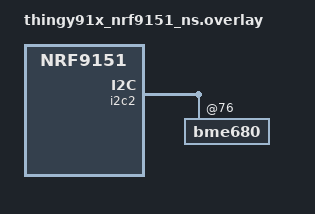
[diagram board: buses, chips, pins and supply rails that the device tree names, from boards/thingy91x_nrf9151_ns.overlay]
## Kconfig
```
#
# Copyright (c) 2022 Nordic Semiconductor ASA
#
# SPDX-License-Identifier: LicenseRef-Nordic-5-Clause
#

menu "Multi Service Sample Settings"

config APP_VERSION
	string "Multi Service Sample version"
	default "1.0.0"

config POWER_SAVING_MODE_ENABLE
	bool "Enable Power Saving Mode (PSM)"
	help
	  Enable to request Power Saving Mode from cellular network.

config CLOUD_CONNECTION_RETRY_TIMEOUT_SECONDS
	int "Cloud connection retry timeout (seconds)"
	default 30
	help
	  If connecting to nRF Cloud takes longer than this timeout, it will be
	  reattempted.

config CLOUD_READY_TIMEOUT_SECONDS
	int "Cloud readiness timeout (seconds)"
	default 600
	help
	  If the connection to nRF Cloud does not become ready within this
	  timeout, the sample will reset its connection and try again.

config DATE_TIME_ESTABLISHMENT_TIMEOUT_SECONDS
	int "Modem date and time establishment timeout (seconds)"
	default 300
	help
	  The sample will wait this many seconds for the modem to determine the
	  current date and time before giving up and moving on.

config APPLICATION_THREAD_STACK_SIZE
	int "Application Thread Stack Size (bytes)"
	default 2048
	help
	  Sets the stack size (in bytes) for the application thread of the
	  sample.

config CONNECTION_THREAD_STACK_SIZE
	int "Connection Thread Stack Size (bytes)"
	default 2048
	help
	  Sets the stack size (in bytes) for the connection thread of the
	  sample.

config MESSAGE_THREAD_STACK_SIZE
	int "Message Queue Thread Stack Size (bytes)"
	default 2048
	help
	  Sets the stack size (in bytes) for the message queue processing
	  thread of the sample.

config LED_THREAD_STACK_SIZE
	int "LED Thread Stack Size (bytes)"
	default 1024
	help
	  Sets the stack size (in bytes) for the LED thread.

config MAX_OUTGOING_MESSAGES
	int "Outgoing message maximum"
	default 64
	help
	  Sets the maximum number of device messages which may be enqueued
	  before further messages are dropped.

config MAX_CONSECUTIVE_SEND_FAILURES
	int "Max outgoing consecutive send failures"
	default 5
	help
	  Sets the maximum number of device messages which may fail to send
	  before a connection reset and cooldown is triggered.

config CONSECUTIVE_SEND_FAILURE_COOLDOWN_SECONDS
	int "Cooldown after max consecutive send failures exceeded"
	default 10
	help
	  If a connection reset is triggered by too many failed device
	  messages, the sample will wait this long (in seconds) before trying
	  again.

config SENSOR_SAMPLE_INTERVAL_SECONDS
	int "Sensor sampling interval (seconds)"
	default 60
	help
	  Sets the time to wait between each sensor sample.

config LOCATION_TRACKING_SAMPLE_INTERVAL_SECONDS
	int "Location sampling interval (seconds)"
	default 60
	help
	  Sets the location sampling interval in seconds.

config LOCATION_TRACKING_GNSS
	bool "Use GNSS method for location tracking"
	default y
	depends on LOCATION_METHOD_GNSS
	help
	  Disable all location tracking methods to completely disable location tracking.

config LOCATION_TRACKING_CELLULAR
	bool "Use cellular method for location tracking"
	default y
	depends on LOCATION_METHOD_CELLULAR
	help
	  Disable all location tracking methods to completely disable location tracking.

config LOCATION_TRACKING_WIFI
	bool "Use Wi-Fi method for location tracking"
	default n
	depends on LOCATION_METHOD_WIFI
	help
	  Requires the use of an nRF7002 companion chip.
	  Disable all location tracking methods to completely disable location tracking.

config TEMP_DATA_USE_SENSOR
	bool "Use genuine temperature data"
	depends on BOARD_THINGY91_NRF9160_NS || BOARD_THINGY91X_NRF9161_NS
	default y
	select SENSOR
	select BME680
	help
	  Sets whether to take genuine temperature measurements from a
	  connected BME680 sensor, or just simulate sensor data.

config TEMP_TRACKING
	bool "Track temperature"
	default y
	help
	  Sets whether to take temperature measurements.

config TEMP_ALERT_LIMIT
	int "Temperature limit to send alert"
	default 30
	help
	  Sets the temperature in degrees C over which a temperature alert will
	  be sent to the cloud.

choice
	prompt "LED indication"
	default LED_INDICATION_PWM if BOARD_THINGY91_NRF9160_NS || BOARD_THINGY91X_NRF9161_NS
	default LED_INDICATION_GPIO if BOARD_NRF9160DK_NRF9160_NS || BOARD_NRF9161DK_NRF9161_NS || $(dt_compat_enabled,gpio-leds)
	default LED_INDICATION_DISABLED

	config LED_INDICATION_PWM
		select LED
		select LED_PWM
		select PWM
		bool "Enable LED indication using the pwm-leds driver"

	config LED_INDICATION_GPIO
		select LED
		select LED_GPIO
		bool "Enable LED indication using the gpio-leds driver"

	config LED_INDICATION_DISABLED
		bool "Disable LED indication"
endchoice

choice
	prompt "LED indication LED type"
	depends on !LED_INDICATION_DISABLED
	default LED_INDICATOR_RGB if (BOARD_THINGY91_NRF9160_NS || BOARD_THINGY91X_NRF9161_NS) && LED_INDICATION_PWM
	default LED_INDICATOR_4LED if !LED_INDICATION_DISABLED
	default LED_INDICATOR_NONE

	config LED_INDICATOR_RGB
		depends on LED_INDICATION_PWM
		bool "A single RGB LED"

	config LED_INDICATOR_4LED
		depends on !LED_INDICATION_DISABLED
		bool "Four binary LEDs"

	config LED_INDICATOR_NONE
		depends on LED_INDICATION_DISABLED
		bool "No indicator LEDs"

endchoice

config LED_VERBOSE_INDICATION
	depends on !LED_INDICATION_DISABLED
	bool "Enables extra LED status indications"
	default y

config LED_CONTINUOUS_INDICATION
	depends on !LED_INDICATION_DISABLED
	bool "Show an idle pattern instead of turning LEDs off"
	default y

config GNSS_FIX_TIMEOUT_SECONDS
	int "GNSS Fix timeout"
	default 40
	help
	  On each location sample, try for this long to achieve a GNSS fix
	  before falling back to cellular positioning.
	  Set this to 20 or so seconds below the sensor sample interval so
	  that there is time left over to perform cellular positioning.
	  Otherwise, location samples may occur at a longer interval than
	  requested.

config TEST_COUNTER
	bool "Sets whether the test counter is enabled"

config AT_CMD_REQUESTS
	depends on !NRF_CLOUD_COAP
	bool "Enables remote execution of AT commands using device messages"
	default y

config AT_CMD_REQUEST_RESPONSE_BUFFER_LENGTH
	int "Max length (in bytes) for Modem responses during AT command requests"
	help
	  Responses to modem AT commands are stored in a buffer of this length before being sent to
	  nRF Cloud. If a response from the modem exceeds this length, it will be dropped, and an
	  error code sent in its place (-NRF_E2BIG). Cannot be less than 40 bytes.
	default 200

if NRF_CLOUD_COAP

menuconfig NRF_CLOUD_COAP_FOTA
	bool "Enable FOTA service when using CoAP to connect to nRF Cloud"
	select FOTA_DOWNLOAD
	select FOTA_DOWNLOAD_PROGRESS_EVT
	select IMG_ERASE_PROGRESSIVELY
	select DFU_TARGET
	select DOWNLOAD_CLIENT
	select REBOOT
	select CJSON_LIB
	select SETTINGS
	default y

if NRF_CLOUD_COAP_FOTA

config COAP_FOTA_DL_TIMEOUT_MIN
	int "The time (minutes) allotted for a FOTA download to complete"
	default 15
	help
	  If the FOTA download does not complete in the allotted time,
	  the download will be cancelled and the job status will be
	  set as failed.

config COAP_FOTA_USE_NRF_CLOUD_SETTINGS_AREA
	bool "Use the same settings area as the nRF Cloud FOTA library"
	default y
	help
	  Using the same settings area as the nRF Cloud FOTA library will
	  allow this sample to perform application-FOTA updates to applications
	  built with CONFIG_NRF_CLOUD_FOTA enabled.

config COAP_FOTA_SETTINGS_NAME
	depends on !COAP_FOTA_USE_NRF_CLOUD_SETTINGS_AREA
	string "Settings identifier for the COAP FOTA sample"
	default "coap_fota_sample"
	help
	  The root settings identifier for this application.
	  For application-FOTA, this value should also be found in your target application
	  so that the FOTA status can be properly reported to nRF Cloud.

config COAP_FOTA_SETTINGS_KEY_PENDING_JOB
	depends on !COAP_FOTA_USE_NRF_CLOUD_SETTINGS_AREA
	string "Settings item key for pending FOTA job info"
	default "pending_job"
	help
	  The settings item key where pending FOTA job info will be stored.
	  For application-FOTA, this value should also be found in your target application
	  so that the FOTA status can be properly reported to nRF Cloud.

config COAP_FOTA_JOB_CHECK_RATE_MINUTES
	int "FOTA job check interval (minutes)"
	default 60
	help
	  Sets the time to wait between each request to get any pending FOTA job.

config COAP_FOTA_THREAD_STACK_SIZE
	int "CoAP FOTA Thread Stack Size (bytes)"
	default 2048
	help
	  Sets the stack size (in bytes) for the CoAP FOTA thread of the
	  sample.

endif

config COAP_SHADOW_CHECK_RATE_SECONDS
	int "Shadow job check interval (seconds)"
	default 300
	help
	  Sets the time to wait between each request to get any change to the
	  device shadow.

config COAP_SHADOW_THREAD_STACK_SIZE
	int "CoAP Shadow Thread Stack Size (bytes)"
	default 2048
	help
	  Sets the stack size (in bytes) for the CoAP shadow thread of the
	  sample.

endif

endmenu

if NRF_CLOUD_MQTT
module-str = MQTT Multi Service
endif
if NRF_CLOUD_COAP
module-str = CoAP Multi Service
endif
module = MULTI_SERVICE
source "${ZEPHYR_BASE}/subsys/logging/Kconfig.template.log_config"

menu "Zephyr Kernel"
source "Kconfig.zephyr"
endmenu
```

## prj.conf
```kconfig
#
# Copyright (c) 2022 Nordic Semiconductor ASA
#
# SPDX-License-Identifier: LicenseRef-Nordic-5-Clause
#

# Log level
# For more verbose and detailed log output, set the log level to
# CONFIG_MULTI_SERVICE_LOG_LEVEL_DBG=y instead.
CONFIG_MULTI_SERVICE_LOG_LEVEL_INF=y

# General config
CONFIG_EVENTS=y
CONFIG_PICOLIBC_IO_FLOAT=y
CONFIG_RESET_ON_FATAL_ERROR=y
CONFIG_NCS_SAMPLES_DEFAULTS=y

# LED indication
# Uncomment these to minimize LED state indication when power savings are necessary
# CONFIG_LED_VERBOSE_INDICATION=n
# CONFIG_LED_CONTINUOUS_INDICATION=n

# Or, uncomment this to completely disable LED state indication
# CONFIG_LED_INDICATION_DISABLED=y

# Improved Logging
# CONFIG_LOG_MODE_DEFERRED allows logging from multiple threads simultaneously without creating
# splintered log entries, at the cost of needing a buffer for storing logs.
CONFIG_LOG_MODE_DEFERRED=y

# CONFIG_LOG_BUFFER_SIZE is the aforementioned buffer. A size of 4096 bytes is useful for debugging
# and prototyping, but is probably more than necessary for production-ready firmware.
CONFIG_LOG_BUFFER_SIZE=4096

# Heap and stacks
# Extended AT host/monitor stack/heap sizes since some nrf_cloud credentials are longer than 1024 bytes.
CONFIG_AT_MONITOR_HEAP_SIZE=2048
CONFIG_AT_HOST_STACK_SIZE=2048
# Extended memory heap size needed both for PGPS and for encoding JSON-based nRF Cloud Device Messages.
CONFIG_HEAP_MEM_POOL_SIZE=24576
CONFIG_SYSTEM_WORKQUEUE_STACK_SIZE=4096

# Enable Networking and Connection Manager.
CONFIG_NETWORKING=y
CONFIG_NET_SOCKETS=y
CONFIG_NET_SOCKETS_OFFLOAD=y
CONFIG_NET_MGMT_EVENT_STACK_SIZE=2048
CONFIG_NET_CONNECTION_MANAGER_MONITOR_STACK_SIZE=1024
CONFIG_MAIN_STACK_SIZE=2048

# Enable LTE Connectivity using Connection Manager
CONFIG_NET_IPV4=y
CONFIG_NET_IPV6=y
CONFIG_NET_IPV6_NBR_CACHE=n
CONFIG_NET_IPV6_MLD=n
CONFIG_NET_CONNECTION_MANAGER=y
CONFIG_NRF_MODEM_LIB_ON_FAULT_APPLICATION_SPECIFIC=y
CONFIG_NRF_MODEM_LIB_NET_IF=y
CONFIG_NRF_MODEM_LIB_NET_IF_AUTO_DOWN=y
CONFIG_NRF_MODEM_LIB_NET_IF_DOWN_DEFAULT_LTE_DISCONNECT=y

# Enable power savings mode
CONFIG_LTE_PSM_REQ=y
# Set the PSM Requested Active Time to 20 seconds
CONFIG_LTE_PSM_REQ_RAT="00001010"

# Modem library
CONFIG_NRF_MODEM_LIB=y

# AT commands interface
CONFIG_UART_INTERRUPT_DRIVEN=y
CONFIG_AT_HOST_LIBRARY=y

# nRF Cloud
CONFIG_NRF_CLOUD_MQTT=y # This also enables FOTA by implicitly setting CONFIG_NRF_CLOUD_FOTA=y

# MQTT
CONFIG_MQTT_KEEPALIVE=120

# MCUBOOT - Needed by FOTA
CONFIG_BOOTLOADER_MCUBOOT=y
CONFIG_IMG_MANAGER=y
CONFIG_MCUBOOT_IMG_MANAGER=y
CONFIG_STREAM_FLASH_ERASE=y

# Location Services configuration
CONFIG_LOCATION=y
CONFIG_LOCATION_METHOD_GNSS=y
CONFIG_LOCATION_METHOD_CELLULAR=y
CONFIG_NRF_CLOUD_AGNSS=y
CONFIG_NRF_CLOUD_LOCATION=y
CONFIG_MODEM_INFO=y
CONFIG_MODEM_INFO_ADD_NETWORK=y
CONFIG_NRF_CLOUD_PGPS=y
CONFIG_NRF_CLOUD_PGPS_REPLACEMENT_THRESHOLD=4
CONFIG_NRF_CLOUD_PGPS_REQUEST_UPON_INIT=y

# Date Time lib - Used by PGPS and main application
CONFIG_DATE_TIME=y

# LTE link control - used by PGPS and main application
CONFIG_LTE_LINK_CONTROL=y

# Settings - used by nRF Cloud library and PGPS
CONFIG_SETTINGS=y
CONFIG_SETTINGS_FCB=y
CONFIG_FCB=y

# Download Client - used by FOTA and PGPS
CONFIG_DOWNLOAD_CLIENT=y
CONFIG_DOWNLOAD_CLIENT_HTTP_FRAG_SIZE_1024=y
CONFIG_DOWNLOAD_CLIENT_STACK_SIZE=4096
CONFIG_DOWNLOAD_CLIENT_BUF_SIZE=2300
CONFIG_DOWNLOAD_CLIENT_MAX_HOSTNAME_SIZE=128

# Flash - Used by FOTA and PGPS
CONFIG_FLASH=y
CONFIG_FLASH_PAGE_LAYOUT=y
CONFIG_FLASH_MAP=y
CONFIG_STREAM_FLASH=y
CONFIG_MPU_ALLOW_FLASH_WRITE=y
CONFIG_PM_EXTERNAL_FLASH_MCUBOOT_SECONDARY=n
CONFIG_NRF_CLOUD_ALERT=y
CONFIG_NRF_CLOUD_LOG_DIRECT=y
CONFIG_NRF_CLOUD_LOG_OUTPUT_LEVEL=3

# On initial connection to the cloud, add info sections to the shadow
CONFIG_NRF_CLOUD_SEND_DEVICE_STATUS=y
CONFIG_NRF_CLOUD_SEND_DEVICE_STATUS_NETWORK=y
CONFIG_NRF_CLOUD_SEND_DEVICE_STATUS_SIM=y
CONFIG_NRF_CLOUD_SEND_SERVICE_INFO_FOTA=y
CONFIG_NRF_CLOUD_SEND_SERVICE_INFO_UI=y

CONFIG_NRF_CLOUD_CLIENT_ID_SRC_COMPILE_TIME=y
CONFIG_NRF_CLOUD_CLIENT_ID="50363953-3234-4bde-80d5-18182e36f012"
CONFIG_NRF_CLOUD_SEC_TAG=3696

CONFIG_MULTI_SERVICE_LOG_LEVEL_DBG=y
```

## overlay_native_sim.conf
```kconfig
## Disable Modem/LTE/nrf91-specific features
CONFIG_NRF_MODEM_LIB=n
CONFIG_MODEM_INFO=n
CONFIG_MODEM_INFO_ADD_NETWORK=n
CONFIG_AT_HOST_LIBRARY=n
CONFIG_LTE_LINK_CONTROL=n
CONFIG_LTE_PSM_REQ=n

# Networking
CONFIG_NET_SOCKETS_OFFLOAD=n

## Disable cloud features reliant on or specific to nrf91 modem features
CONFIG_NRF_CLOUD_AGNSS=n
CONFIG_NRF_CLOUD_PGPS=n
CONFIG_NRF_CLOUD_PGPS_REQUEST_UPON_INIT=n
CONFIG_LOCATION_METHOD_GNSS=n
CONFIG_LOCATION_METHOD_CELLULAR=n

## Disable FOTA to conserve memory
CONFIG_NRF_CLOUD_FOTA=n
CONFIG_COAP_FOTA=n
CONFIG_BOOTLOADER_MCUBOOT=n
CONFIG_IMG_MANAGER=n
CONFIG_MCUBOOT_IMG_MANAGER=n

CONFIG_TLS_CREDENTIALS=y
CONFIG_TLS_CREDENTIALS_SHELL=y
CONFIG_TLS_CREDENTIALS_SHELL_CRED_BUF_SIZE=3072
CONFIG_TLS_CREDENTIALS_BACKEND_VOLATILE=y
CONFIG_BASE64=y

CONFIG_DATE_TIME_AUTO_UPDATE=y
CONFIG_DATE_TIME_MODEM=n
CONFIG_DATE_TIME_NTP=y
CONFIG_DATE_TIME_LOG_LEVEL_DBG=y
CONFIG_DATE_TIME_RETRY_COUNT=5
CONFIG_DATE_TIME_RETRY_INTERVAL_SECONDS=20

## Disable LED patterns since the WiFi shield is not compatible
CONFIG_LED_INDICATION_DISABLED=y

## Disable LTE conn_mgr bindings
CONFIG_NRF_MODEM_LIB_NET_IF=n

## This had to be disabled for LTE with conn_mgr, but there is no reason to disable for Wi-Fi
CONFIG_DNS_RESOLVER=y
CONFIG_NET_SOCKETS_DNS_TIMEOUT=30000

CONFIG_LOCATION_TRACKING=n
CONFIG_LOCATION=n
CONFIG_DK_LIBRARY=n

# Native network stack
CONFIG_MBEDTLS=y
CONFIG_MBEDTLS_INIT=y
CONFIG_MBEDTLS_BUILTIN=y
CONFIG_MBEDTLS_ENABLE_HEAP=y
CONFIG_MBEDTLS_HEAP_SIZE=120000
CONFIG_MBEDTLS_SSL_MAX_CONTENT_LEN=16384
CONFIG_MBEDTLS_PEM_CERTIFICATE_FORMAT=y
CONFIG_MBEDTLS_KEY_EXCHANGE_RSA_PSK_ENABLED=y
CONFIG_MBEDTLS_KEY_EXCHANGE_ECDHE_PSK_ENABLED=y
CONFIG_MBEDTLS_KEY_EXCHANGE_RSA_ENABLED=y
CONFIG_MBEDTLS_KEY_EXCHANGE_ECDHE_RSA_ENABLED=y
CONFIG_MBEDTLS_KEY_EXCHANGE_ECDHE_ECDSA_ENABLED=y

# NET Sockets
CONFIG_NET_SOCKETS_SOCKOPT_TLS=y

CONFIG_MBEDTLS_ECDH_C=y
CONFIG_MBEDTLS_ECP_C=y
CONFIG_MBEDTLS_ECDSA_C=y
CONFIG_MBEDTLS_ECP_DP_SECP256R1_ENABLED=y

CONFIG_MBEDTLS_X509_CRT_PARSE_C=y
CONFIG_MBEDTLS_SERVER_NAME_INDICATION=y
CONFIG_MBEDTLS_TLS_SESSION_TICKETS=y
CONFIG_MBEDTLS_KEY_EXCHANGE_ECDHE_PSK_ENABLED=y
CONFIG_MBEDTLS_KEY_EXCHANGE_ECDHE_RSA_ENABLED=y
CONFIG_MBEDTLS_KEY_EXCHANGE_ECDHE_ECDSA_ENABLED=y
CONFIG_MBEDTLS_CIPHER_GCM_ENABLED=y
CONFIG_MBEDTLS_ECP_DP_SECP384R1_ENABLED=y
CONFIG_MBEDTLS_ECP_DP_SECP521R1_ENABLED=y
CONFIG_MBEDTLS_ECP_DP_BP256R1_ENABLED=y
CONFIG_MBEDTLS_ECP_DP_BP384R1_ENABLED=y
CONFIG_MBEDTLS_ECP_DP_BP512R1_ENABLED=y
CONFIG_MBEDTLS_ECP_DP_CURVE25519_ENABLED=y

CONFIG_MBEDTLS_SHA1=y
CONFIG_MBEDTLS_SHA256=y
CONFIG_MBEDTLS_SHA384=y
CONFIG_MBEDTLS_SHA512=y

CONFIG_MBEDTLS=y
CONFIG_MBEDTLS_PSA_CRYPTO_C=y
CONFIG_MBEDTLS_PSA_CRYPTO_EXTERNAL_RNG=y
CONFIG_PSA_CRYPTO_ENABLE_ALL=y
CONFIG_BASE64=y

CONFIG_NRF_CLOUD_PROVISION_CERTIFICATES=y
CONFIG_NRF_CLOUD_CLIENT_ID="d1834fe7-5dd2-4db6-b055-9b281304966c"
```

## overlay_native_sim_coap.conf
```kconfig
# Additional options for CoAP on native_sim
CONFIG_MBEDTLS_DTLS=y
CONFIG_MBEDTLS_SSL_DTLS_CONNECTION_ID=y
CONFIG_NET_SOCKETS_ENABLE_DTLS=y
CONFIG_NET_SOCKETS_TLS_SET_MAX_FRAGMENT_LENGTH=y
CONFIG_NET_SOCKETS_OFFLOAD_PRIORITY=40

CONFIG_NRF_CLOUD_MQTT=n
CONFIG_NRF_CLOUD_COAP=y
CONFIG_NRF_CLOUD_ALERT=y
CONFIG_NRF_CLOUD_LOCATION=n
CONFIG_NRF_CLOUD_JWT_SOURCE_CUSTOM=y

CONFIG_COAP_CLIENT_BLOCK_SIZE=1024
CONFIG_COAP_CLIENT_STACK_SIZE=6144
CONFIG_COAP_CLIENT_THREAD_PRIORITY=0
CONFIG_COAP_EXTENDED_OPTIONS_LEN_VALUE=40
```

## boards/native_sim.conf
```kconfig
#
# Copyright (c) 2025 Nordic Semiconductor ASA
#
# SPDX-License-Identifier: LicenseRef-Nordic-5-Clause
#

CONFIG_DNS_RESOLVER=y
CONFIG_DNS_SERVER_IP_ADDRESSES=y
CONFIG_DNS_SERVER1="8.8.8.8"

CONFIG_NETWORKING=y
CONFIG_NET_UDP=y
CONFIG_NET_TCP=y
CONFIG_NET_IPV6=y
CONFIG_NET_IPV4=y

CONFIG_ENTROPY_GENERATOR=y
CONFIG_TEST_RANDOM_GENERATOR=y
CONFIG_INIT_STACKS=y

CONFIG_NET_LOG=y
CONFIG_LOG=y

CONFIG_NET_STATISTICS=y

CONFIG_NET_PKT_RX_COUNT=32
CONFIG_NET_PKT_TX_COUNT=32
CONFIG_NET_BUF_RX_COUNT=32
CONFIG_NET_BUF_TX_COUNT=32

CONFIG_NET_IF_UNICAST_IPV6_ADDR_COUNT=3
CONFIG_NET_IF_MCAST_IPV6_ADDR_COUNT=4
CONFIG_NET_MAX_CONTEXTS=10

CONFIG_NET_SHELL=y

CONFIG_NET_CONFIG_SETTINGS=y
CONFIG_NET_CONFIG_NEED_IPV6=y
CONFIG_NET_CONFIG_NEED_IPV4=y
CONFIG_NET_CONFIG_MY_IPV6_ADDR="2001:db8::1"
CONFIG_NET_CONFIG_PEER_IPV6_ADDR="2001:db8::2"
CONFIG_NET_CONFIG_MY_IPV4_ADDR="192.0.2.1"
CONFIG_NET_CONFIG_PEER_IPV4_ADDR="192.0.2.2"
CONFIG_NET_CONFIG_MY_IPV4_GW="192.0.2.2"

CONFIG_NET_L2_ETHERNET=y

CONFIG_ETH_NATIVE_POSIX=y
CONFIG_ETH_NATIVE_POSIX_RANDOM_MAC=y
CONFIG_ETH_NATIVE_POSIX_MAC_ADDR="00:00:5e:00:53:2a"
```

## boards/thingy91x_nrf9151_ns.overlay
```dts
/* Copyright (c) 2023 Nordic Semiconductor ASA
 *
 * SPDX-License-Identifier: LicenseRef-Nordic-5-Clause
 */

/ {
	aliases {
		temp-sensor = &bme680;
	};
};

&bme680 {
	status = "okay";
};

&i2c2 {
	bme680: bme680@76 {};
};
```

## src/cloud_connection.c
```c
/* Copyright (c) 2023 Nordic Semiconductor ASA
 *
 * SPDX-License-Identifier: LicenseRef-Nordic-5-Clause
 */

#include <zephyr/kernel.h>
#include <zephyr/net/socket.h>
#include <zephyr/net/conn_mgr_connectivity.h>
#include <zephyr/net/conn_mgr_monitor.h>
#include <zephyr/logging/log.h>
#include <stdio.h>
#include <date_time.h>
#include <net/nrf_cloud.h>
#include <net/nrf_cloud_codec.h>
#include <net/nrf_cloud_log.h>
#if defined(CONFIG_NRF_CLOUD_COAP)
#include <net/nrf_cloud_coap.h>
#include "fota_support_coap.h"
#endif
#include <net/nrf_provisioning.h>

#include "cloud_connection.h"
#include "provisioning_support.h"
#include "fota_support.h"
#include "location_tracking.h"
#include "led_control.h"
#include "shadow_config.h"

LOG_MODULE_REGISTER(cloud_connection, CONFIG_MULTI_SERVICE_LOG_LEVEL);

/* Internal state */

/* Pendable events that threads can wait for. */
#define NETWORK_READY			BIT(0)
#define CLOUD_CONNECTED			BIT(1)
#define CLOUD_READY			BIT(2)
#define CLOUD_DISCONNECTED		BIT(3)
#define DATE_TIME_KNOWN			BIT(4)
static K_EVENT_DEFINE(cloud_events);

/* Atomic status flag tracking whether an initial association is in progress. */
static atomic_t initial_association;
static bool device_deleted;
static int reconnect_seconds = CONFIG_CLOUD_CONNECTION_RETRY_TIMEOUT_SECONDS;

/* Helper functions for pending on pendable events. */
bool await_network_ready(k_timeout_t timeout)
{
	return k_event_wait(&cloud_events, NETWORK_READY, false, timeout) != 0;
}

bool await_cloud_ready(k_timeout_t timeout)
{
	return k_event_wait(&cloud_events, CLOUD_READY, false, timeout) != 0;
}

bool await_cloud_disconnected(k_timeout_t timeout)
{
	return k_event_wait(&cloud_events, CLOUD_DISCONNECTED, false, timeout) != 0;
}

bool await_date_time_known(k_timeout_t timeout)
{
	return k_event_wait(&cloud_events, DATE_TIME_KNOWN, false, timeout) != 0;
}

bool is_device_deleted(void)
{
	return device_deleted;
}

/* Wait for a connection result, and return true if connection was successful within the timeout,
 * otherwise return false.
 */
static bool await_connection_result(k_timeout_t timeout)
{
	/* After a connection attempt, either CLOUD_CONNECTED or CLOUD_DISCONNECTED will be
	 * raised, depending on whether the connection succeeded.
	 */
	uint32_t events = CLOUD_CONNECTED | CLOUD_DISCONNECTED;

	return (k_event_wait(&cloud_events, events, false, timeout) & CLOUD_CONNECTED) != 0;
}

/* Delayable work item for handling cloud readiness timeout.
 * The work item is scheduled at a delay any time connection starts and is cancelled when the
 * connection to nRF Cloud becomes ready to use (signalled by NRF_CLOUD_EVT_READY).
 *
 * If the work item executes, that means the nRF Cloud connection did not become ready for use
 * within the delay, and thus the connection should be reset (and then try again later).
 */
static void ready_timeout_work_fn(struct k_work *work)
{
	ARG_UNUSED(work);
	LOG_INF("nRF Cloud connection did not become ready in time, disconnecting and retrying...");
	disconnect_cloud();
}

static K_WORK_DELAYABLE_DEFINE(ready_timeout_work, ready_timeout_work_fn);

/* Start the readiness timeout if readiness is not already achieved. */
static void start_readiness_timeout(void)
{
	/* It doesn't make sense to start the readiness timeout if we're already ready. */
	if (k_event_test(&cloud_events, CLOUD_READY)) {
		LOG_DBG("Already ready.");
		return;
	}

	LOG_DBG("Starting cloud connection readiness timeout for %d seconds",
		CONFIG_CLOUD_READY_TIMEOUT_SECONDS);

	k_work_reschedule(&ready_timeout_work, K_SECONDS(CONFIG_CLOUD_READY_TIMEOUT_SECONDS));
}

static void clear_readiness_timeout(void)
{
	LOG_DBG("Stopping cloud connection readiness timeout");
	k_work_cancel_delayable(&ready_timeout_work);
}

/**
 * @brief Update internal state in response to achieving connection.
 */
static void cloud_connected(void)
{
	LOG_INF("Connected to nRF Cloud");

	shadow_config_cloud_connected();

	/* Notify that the nRF Cloud connection is established. */
	k_event_post(&cloud_events, CLOUD_CONNECTED);
}

/**
 * @brief Update internal state in response to achieving readiness.
 */
static void cloud_ready(void)
{
	/* Clear the readiness timeout, since we have become ready. */
	clear_readiness_timeout();

	reconnect_seconds = CONFIG_CLOUD_CONNECTION_RETRY_TIMEOUT_SECONDS;

	/* Notify that the nRF Cloud connection is ready for use. */
	k_event_post(&cloud_events, CLOUD_READY);
	LOG_DBG("Setting CLOUD_READY");

	if (IS_ENABLED(CONFIG_NRF_PROVISIONING)) {
		LOG_INF("Reducing provisioning check interval to %d minutes",
			CONFIG_POST_PROVISIONING_INTERVAL_M);
		nrf_provisioning_set_interval(CONFIG_POST_PROVISIONING_INTERVAL_M * SEC_PER_MIN);
	}
}

/* A callback that the application may register in order to handle custom device messages.
 * This is really a convenience callback to help keep this sample clean and modular. You could
 * implement device message handling directly in the cloud_event_handler if desired.
 */
static dev_msg_handler_cb_t general_dev_msg_handler;
void register_general_dev_msg_handler(dev_msg_handler_cb_t handler_cb)
{
	general_dev_msg_handler = handler_cb;
}

/* This function causes the cloud to disconnect, and updates internal state accordingly.
 *
 * It is also triggerd by cloud disconnection, to update internal state.
 *
 * In this latter case, an unnecessary "Disconnecting from nRF Cloud" and
 * "Already disconnected from nRF Cloud" will be printed.
 *
 * This is done to keep the sample simple, though the log messages may be a bit confusing.
 */
void disconnect_cloud(void)
{
	/* Clear the readiness timeout in case it was running. */
	clear_readiness_timeout();

	/* Clear the Ready and Connected events, no longer accurate. */
	k_event_clear(&cloud_events, CLOUD_READY | CLOUD_CONNECTED);
	LOG_DBG("Cleared CLOUD_READY and CLOUD_CONNECTED");

	/* Clear the initial association flag, no longer accurate. */
	atomic_set(&initial_association, false);

	/* Disconnect from nRF Cloud -- Blocking call
	 * Will no-op and return -EACCES if already disconnected.
	 */
	LOG_INF("Disconnecting from nRF Cloud");
	int err;

#if defined(CONFIG_NRF_CLOUD_MQTT)
	err = nrf_cloud_disconnect();
#elif defined(CONFIG_NRF_CLOUD_COAP)
	err = nrf_cloud_coap_disconnect();
#endif
	/* nrf_cloud_disconnect returns -EACCES if we are not currently in a connected state.
	 * nrf_cloud_coap_disconnect returns -ENOTCONN if socket is not open.
	 */
	if ((err == -EACCES) || (err == -ENOTCONN)) {
		LOG_DBG("Already disconnected from nRF Cloud");
	} else if (err) {
		LOG_ERR("Cannot disconnect from nRF Cloud, error: %d. Continuing anyways", err);
	} else {
		LOG_INF("Successfully disconnected from nRF Cloud");
	}

	/* Fire the disconnected event. */
	k_event_post(&cloud_events, CLOUD_DISCONNECTED);
}

static void network_disconnected(void)
{
#if defined(CONFIG_NRF_CLOUD_MQTT)
	disconnect_cloud();
#elif defined(CONFIG_NRF_CLOUD_COAP)
	if (!nrf_cloud_coap_keepopen_is_supported()) {
		disconnect_cloud();
		return;
	}
	/* When using CoAP we keep the socket open during brief network outages.
	 * There is no need to fully disconnect and cause additional network traffic.
	 */
	if (k_event_test(&cloud_events, CLOUD_DISCONNECTED)) {
		return;
	}
	clear_readiness_timeout();
	k_event_clear(&cloud_events, CLOUD_READY | CLOUD_CONNECTED);
	k_event_post(&cloud_events, CLOUD_DISCONNECTED);
	int err = nrf_cloud_coap_pause();

	if ((err < 0) && (err != -EBADF)) {
		/* -EBADF means it was disconnected, for example by FOTA. */
		LOG_ERR("Error pausing connection: %d", err);
	}
#endif
}

void cloud_transport_error_detected(void)
{
	/* We could do some kind of ping to verify the connection, but for now,
	 * just assume the detector was correct and force a reconnect.
	 */
	LOG_INF("Communication error detected.");
	network_disconnected();
}

/**
 * @brief Attempt to connect to nRF Cloud and update internal state accordingly.
 *
 * Blocks until connection attempt either succeeds or fails.
 *
 * @retval true if successful
 * @retval false if connection failed
 */
static bool connect_cloud(void)
{
	int err;

	LOG_INF("Connecting to nRF Cloud");

	/* Clear the disconnected flag, no longer accurate. */
	k_event_clear(&cloud_events, CLOUD_DISCONNECTED);

#if defined(CONFIG_NRF_CLOUD_MQTT)
	/* Connect to nRF Cloud -- Non-blocking. State updates are handled in callbacks. */
	err = nrf_cloud_connect();
#elif defined(CONFIG_NRF_CLOUD_COAP)
	/* Connect via CoAP -- blocking. */
	err = nrf_cloud_coap_connect(CONFIG_APP_VERSION);

	/* Cloud is immediately ready and connected since nrf_cloud_coap_connect is blocking. */
	if (!err) {
		cloud_connected();
		cloud_ready();
		return true;
	}
#endif

	/* If we were already connected, treat as a successful connection, but do nothing. */
	if (err == NRF_CLOUD_CONNECT_RES_ERR_ALREADY_CONNECTED) {
		LOG_WRN("Already connected to nRF Cloud");
		return true;
	}

	/* If the connection attempt fails immediately, report and exit. */
	if (err != 0) {
		LOG_ERR("Could not connect to nRF Cloud, error: %d", err);
		return false;
	}

	/* Wait for the connection to either complete or fail. */
	if (!await_connection_result(K_FOREVER)) {
		LOG_ERR("Could not connect to nRF Cloud");
		return false;
	}

	/* If connection succeeded and we aren't already ready, start the readiness timeout.
	 * (Readiness check is performed by start_readiness_timeout).
	 */
	start_readiness_timeout();
	return true;
}

/* External event handlers */

/* Handler for L4/connectivity events
 * This allows the cloud module to react to network gain and loss.
 * The conn_mgr subsystem is responsible for seeking / maintaining network connectivity and
 * firing these events.
 */
static struct net_mgmt_event_callback l4_callback;
static void l4_event_handler(struct net_mgmt_event_callback *cb,
			     uint32_t event, struct net_if *iface)
{
	if (event == NET_EVENT_L4_CONNECTED) {
		LOG_INF("Network connectivity gained!");

		k_sleep(K_MSEC(1000));

		/* Set the network ready flag */
		k_event_post(&cloud_events, NETWORK_READY);

		/* If LTE-event-driven date_time updates are disabled, manually trigger a date_time
		 * timestamp refresh.
		 *
		 * Note: The CONFIG_DATE_TIME_AUTO_UPDATE setting controls specifically whether
		 * LTE-event-driven date_time updates are enabled. The date_time library will still
		 * periodically refresh its timestamp if CONFIG_DATE_TIME_AUTO_UPDATE is disabled,
		 * but this refresh is infrequent, so we are manually requesting a refresh
		 * whenever internet access becomes available so that we get a timestamp
		 * immediately.
		 */
		if (!IS_ENABLED(CONFIG_DATE_TIME_AUTO_UPDATE)) {
			date_time_update_async(NULL);
		}

	} else if (event == NET_EVENT_L4_DISCONNECTED) {
		LOG_INF("Network connectivity lost!");

		/* Clear the network ready flag */
		k_event_clear(&cloud_events, NETWORK_READY);

		/* Network is now disconnected */
		network_disconnected();
	}
}

/* Handler for date_time library events, used to keep track of whether the current time is known */
static void date_time_event_handler(const struct date_time_evt *date_time_evt)
{
	if (date_time_is_valid()) {
		k_event_post(&cloud_events, DATE_TIME_KNOWN);
	} else {
		k_event_clear(&cloud_events, DATE_TIME_KNOWN);
	}
}

#if defined(CONFIG_NRF_CLOUD_MQTT)
/* Handler for nRF Cloud shadow events */
static void handle_shadow_event(struct nrf_cloud_obj_shadow_data *const shadow)
{
	if (!shadow) {
		return;
	}

	int err;

	if ((shadow->type == NRF_CLOUD_OBJ_SHADOW_TYPE_DELTA) && shadow->delta) {
		LOG_DBG("Shadow: Delta - version: %d, timestamp: %lld",
			shadow->delta->ver,
			shadow->delta->ts);

		bool accept = true;

		err = shadow_config_delta_process(&shadow->delta->state);
		if (err == -EBADF) {
			LOG_INF("Rejecting shadow delta");
			accept = false;
		} else if (err == -ENOMEM) {
			LOG_ERR("Error handling shadow delta");
			return;
		} else if (err == -EAGAIN) {
			LOG_DBG("Ignoring delta until accepted shadow is received");
			return;
		}

		err = nrf_cloud_obj_shadow_delta_response_encode(&shadow->delta->state, accept);
		if (err) {
			LOG_ERR("Failed to encode shadow response: %d", err);
			return;
		}

		err = nrf_cloud_obj_shadow_update(&shadow->delta->state);
		if (err) {
			LOG_ERR("Failed to send shadow response, error: %d", err);
		}

	} else if ((shadow->type == NRF_CLOUD_OBJ_SHADOW_TYPE_ACCEPTED) && shadow->accepted) {
		LOG_DBG("Shadow: Accepted");
		err = shadow_config_accepted_process(&shadow->accepted->config);
		if (err) {
			/* Send the config on an error */
			(void)shadow_config_reported_send();
		}
	}
}

/* Handler for events from nRF Cloud Lib. */
static void cloud_event_handler(const struct nrf_cloud_evt *nrf_cloud_evt)
{
	switch (nrf_cloud_evt->type) {
	case NRF_CLOUD_EVT_TRANSPORT_CONNECTED:
		LOG_DBG("NRF_CLOUD_EVT_TRANSPORT_CONNECTED");

		/* Handle connection success. */
		cloud_connected();
		break;
	case NRF_CLOUD_EVT_TRANSPORT_CONNECTING:
		LOG_DBG("NRF_CLOUD_EVT_TRANSPORT_CONNECTING");
		break;
	case NRF_CLOUD_EVT_TRANSPORT_CONNECT_ERROR:
		LOG_DBG("NRF_CLOUD_EVT_TRANSPORT_CONNECT_ERROR: %d", nrf_cloud_evt->status);

		/* Disconnect from cloud immediately rather than wait for retry timeout. */
		disconnect_cloud();

		break;
	case NRF_CLOUD_EVT_USER_ASSOCIATION_REQUEST:
		LOG_DBG("NRF_CLOUD_EVT_USER_ASSOCIATION_REQUEST");
		/* This event indicates that the user must associate the device with their
		 * nRF Cloud account in the nRF Cloud portal.
		 *
		 * The device must then disconnect and reconnect to nRF Cloud after association
		 * succeeds.
		 */
		LOG_INF("Please add this device to your cloud account in the nRF Cloud portal.");

		/* Store the fact that this is an initial association.
		 *
		 * This will cause the next NRF_CLOUD_EVT_USER_ASSOCIATED event to
		 * disconnect and reconnect the device to nRF Cloud, which is required
		 * when devices are first associated with an nRF Cloud account.
		 */
		atomic_set(&initial_association, true);
		break;
	case NRF_CLOUD_EVT_USER_ASSOCIATED:
		LOG_DBG("NRF_CLOUD_EVT_USER_ASSOCIATED");
		/* Indicates successful association with an nRF Cloud account.
		 * Fired every time the device connects (unless the device is not associated).
		 *
		 * If this is an initial association, the device must disconnect and
		 * and reconnect before using nRF Cloud.
		 */
		device_deleted = false;
		if (atomic_get(&initial_association)) {
			/* Disconnect as is required.
			 * The connection loop will handle reconnection afterwards.
			 */
			LOG_INF("Device successfully associated with cloud! Reconnecting");
			reconnect_seconds = 1;
			disconnect_cloud();
		}
		break;
	case NRF_CLOUD_EVT_READY:
		LOG_DBG("NRF_CLOUD_EVT_READY");

		/* Handle achievement of readiness */
		cloud_ready();

		/* The nRF Cloud library will automatically update the
		 * device's shadow based on the build configuration.
		 * See config NRF_CLOUD_SEND_SHADOW_INFO for details.
		 */
		break;
	case NRF_CLOUD_EVT_SENSOR_DATA_ACK:
		LOG_DBG("NRF_CLOUD_EVT_SENSOR_DATA_ACK");
		break;
	case NRF_CLOUD_EVT_TRANSPORT_DISCONNECTED:
		LOG_DBG("NRF_CLOUD_EVT_TRANSPORT_DISCONNECTED");

		/* The nRF Cloud library itself has disconnected for some reason.
		 * Execute a manual disconnect so that the event flags are updated.
		 * The internal nrf_cloud_disconnect call will no-op.
		 */
		disconnect_cloud();

		break;
	case NRF_CLOUD_EVT_ERROR:
		LOG_DBG("NRF_CLOUD_EVT_ERROR: %d", nrf_cloud_evt->status);
		break;
	case NRF_CLOUD_EVT_RX_DATA_GENERAL:
		LOG_DBG("NRF_CLOUD_EVT_RX_DATA_GENERAL");
		LOG_DBG("%d bytes received from cloud", nrf_cloud_evt->data.len);
		/* Pass the device message along to the application, if it is listening */
		if (general_dev_msg_handler) {
			/* To keep the sample simple, we invoke the callback directly.
			 * If you want to do complex operations in this callback without blocking
			 * receipt of data from nRF Cloud, you should set up a work queue and pass
			 * messages to it either here, or from inside the callback.
			 */
			general_dev_msg_handler(&nrf_cloud_evt->data);
		}

		break;
	case NRF_CLOUD_EVT_RX_DATA_DISCON:
		LOG_DBG("NRF_CLOUD_EVT_RX_DATA_DISCON");
		LOG_INF("Device was removed from your account.");
		device_deleted = true;
		break;
	case NRF_CLOUD_EVT_RX_DATA_SHADOW: {
		LOG_DBG("NRF_CLOUD_EVT_RX_DATA_SHADOW");
		handle_shadow_event(nrf_cloud_evt->shadow);
		break;
	}
	case NRF_CLOUD_EVT_FOTA_START:
		LOG_DBG("NRF_CLOUD_EVT_FOTA_START");
		break;
	case NRF_CLOUD_EVT_FOTA_DONE: {
		enum nrf_cloud_fota_type fota_type = NRF_CLOUD_FOTA_TYPE__INVALID;

		if (nrf_cloud_evt->data.ptr) {
			fota_type = *((enum nrf_cloud_fota_type *) nrf_cloud_evt->data.ptr);
		}

		LOG_DBG("NRF_CLOUD_EVT_FOTA_DONE, FOTA type: %s",
			fota_type == NRF_CLOUD_FOTA_APPLICATION	  ?		"Application"	:
			fota_type == NRF_CLOUD_FOTA_MODEM_DELTA	  ?		"Modem (delta)"	:
			fota_type == NRF_CLOUD_FOTA_MODEM_FULL	  ?		"Modem (full)"	:
			fota_type == NRF_CLOUD_FOTA_BOOTLOADER	  ?		"Bootloader"	:
										"Invalid");

		/* Notify fota_support of the completed download. */
		on_fota_downloaded();
		break;
	}
	case NRF_CLOUD_EVT_FOTA_ERROR:
		LOG_DBG("NRF_CLOUD_EVT_FOTA_ERROR");
		break;
	default:
		LOG_DBG("Unknown event type: %d", nrf_cloud_evt->type);
		break;
	}
}
#endif /* CONFIG_NRF_CLOUD_MQTT */

/**
 * @brief Set up for the nRF Cloud connection (without connecting)
 *
 * Sets up required event hooks and initializes the nrf_cloud library.
 *
 * @return int - 0 on success, otherwise negative error code.
 */
static int setup_cloud(void)
{
	int err;

	/* Register to be notified of network availability changes.
	 *
	 * If the chosen connectivity layer becomes ready instantaneously, it is possible that
	 * L4_CONNECTED will be fired before reaching this function, in which case we will miss
	 * the notification.
	 *
	 * If that is a serious concern, use SYS_INIT with priority 0 (less than
	 * CONFIG_NET_CONNECTION_MANAGER_PRIORITY) to register this hook before conn_mgr
	 * initializes.
	 *
	 * In reality, connectivity layers such as LTE take some time to go online, so registering
	 * the hook here is fine.
	 */
	net_mgmt_init_event_callback(
		&l4_callback, l4_event_handler, NET_EVENT_L4_CONNECTED | NET_EVENT_L4_DISCONNECTED
	);
	net_mgmt_add_event_callback(&l4_callback);

	/* Register to be notified when the modem has figured out the current time. */
	date_time_register_handler(date_time_event_handler);

#if defined(CONFIG_NRF_CLOUD_MQTT)
	/* Initialize nrf_cloud library. */
	struct nrf_cloud_init_param params = {
		.event_handler = cloud_event_handler,
		.fmfu_dev_inf = get_full_modem_fota_fdev(),
		.application_version = CONFIG_APP_VERSION
	};

	err = nrf_cloud_init(&params);
	if (err) {
		LOG_ERR("nRF Cloud library could not be initialized, error: %d", err);
		return err;
	}

#elif defined(CONFIG_NRF_CLOUD_COAP)
#if defined(CONFIG_COAP_FOTA)
	err = coap_fota_init();
	if (err) {
		LOG_ERR("Error initializing FOTA: %d", err);
		return err;
	}
#endif /* CONFIG_COAP_FOTA */
	err = nrf_cloud_coap_init();
	if (err) {
		LOG_ERR("Failed to initialize CoAP client: %d", err);
		return err;
	}
#endif /* CONFIG_NRF_CLOUD_COAP */

	return 0;
}

/* Check whether nRF Cloud credentials are installed. If not, sleep forever. */
static void check_credentials(void)
{
	int status = nrf_cloud_credentials_configured_check();

	if (status == -ENOTSUP) {
		if (IS_ENABLED(CONFIG_NRF_PROVISIONING)) {
			LOG_WRN("nRF Cloud credentials are not installed. "
				"Claim and onboard device on nrfcloud.com to continue.");
		} else {
			LOG_WRN("nRF Cloud credentials are not installed. "
				"Please install and reboot.");
		}
	} else if (status == -ENOPROTOOPT) {
		LOG_WRN("Required root CA certificate is missing.");
	} else {
		if (status) {
			LOG_ERR("Error while checking for credentials: %d. Proceeding anyway.",
				status);
		}
		return;
	}
	if (!IS_ENABLED(CONFIG_NRF_PROVISIONING)) {
		/* Save power since credentials will not work, and we are not using the
		 * cloud-based nrf_provisioning service.
		 */
		conn_mgr_all_if_down(true);
	}
	k_sleep(K_FOREVER);
}

void cloud_connection_thread_fn(void)
{
	long_led_pattern(LED_WAITING);

	LOG_INF("Enabling connectivity...");
	conn_mgr_all_if_connect(true);

	LOG_INF("Setting up nRF Cloud library...");
	if (setup_cloud()) {
		LOG_ERR("Fatal: nRF Cloud library setup failed");
		long_led_pattern(LED_FAILURE);
		return;
	}

	/* Check for credentials, if the feature is enabled. */
	if (IS_ENABLED(CONFIG_NRF_CLOUD_CHECK_CREDENTIALS)) {
		check_credentials();
	}

	/* Indefinitely maintain a connection to nRF Cloud whenever the network is reachable. */
	while (true) {
		LOG_INF("Waiting for network ready...");

		if (IS_ENABLED(CONFIG_LED_VERBOSE_INDICATION)) {
			long_led_pattern(LED_WAITING);
		}
		if (!IS_ENABLED(CONFIG_BOARD_NATIVE_SIM)) {
			(void)await_network_ready(K_FOREVER);
		} else {
			conn_mgr_mon_resend_status();
		}

		LOG_INF("Network is ready");

		/* Wait for provisioning to complete, if the provisioning library is enabled. */
		if (IS_ENABLED(CONFIG_NRF_PROVISIONING)) {
			LOG_DBG("Awaiting provisioning idle");
			(void)await_provisioning_idle(K_FOREVER);
		}

		/* Obtain time before connecting to the cloud,
		 * otherwise NTP query will fail.
		 */
		if (IS_ENABLED(CONFIG_WIFI)) {
			LOG_INF("Waiting to obtain date/time");
			(void)await_date_time_known(K_FOREVER);
		}

		/* Attempt to connect to nRF Cloud. */
		if (connect_cloud()) {
			LOG_DBG("Monitoring nRF Cloud connection");

			/* and then wait patiently for a connection problem. */
			(void)await_cloud_disconnected(K_FOREVER);

			LOG_INF("Disconnected from nRF Cloud");
		}

		LOG_INF("Retrying in %d seconds...", reconnect_seconds);

		/* Wait a bit before trying again. */
		k_sleep(K_SECONDS(reconnect_seconds));
	}
}
```

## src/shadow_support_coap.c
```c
/*
 * Copyright (c) 2023 Nordic Semiconductor ASA
 *
 * SPDX-License-Identifier: LicenseRef-Nordic-5-Clause
 */

#include <zephyr/kernel.h>
#include <zephyr/logging/log.h>
#include <zephyr/logging/log_ctrl.h>
#include <modem/location.h>
#include <date_time.h>
#include <stdio.h>
#include <net/nrf_cloud.h>
#include <net/nrf_cloud_coap.h>

#include "cloud_connection.h"
#include "shadow_support_coap.h"

LOG_MODULE_REGISTER(shadow_support_coap, CONFIG_MULTI_SERVICE_LOG_LEVEL);

#define COAP_SHADOW_MAX_SIZE 512

void json_print_obj(const char *prefix, const cJSON *obj)
{
	char *string = cJSON_Print(obj);

	if (string == NULL) {
		LOG_ERR("Failed to print object content");
		return;
	}

	printk("%s%s\n", prefix, string);

	cJSON_FreeString(string);
}

static int check_shadow(void)
{
	int err;
	char buf[COAP_SHADOW_MAX_SIZE] = {0};
	struct nrf_cloud_data in_data = {
		.ptr = buf
	};
	struct nrf_cloud_obj delta_obj = {0};

	/* Wait until we are able to communicate. */
	LOG_DBG("Waiting for valid connection before checking shadow");
	(void)await_cloud_ready(K_FOREVER);

	LOG_INF("Checking for shadow delta...");
	err = nrf_cloud_coap_shadow_get(buf, sizeof(buf), true);
	if (err == -EACCES) {
		LOG_DBG("Not connected yet.");
		return err;
	} else if (err) {
		LOG_ERR("Failed to request shadow delta: %d", err);
		return err;
	}

	in_data.len = strlen(buf);
	if (!in_data.len) {
		LOG_INF("Checking again in %d seconds",
			CONFIG_COAP_SHADOW_CHECK_RATE_SECONDS);
		return -EAGAIN;
	}

	LOG_DBG("Shadow delta: len:%zd, %s", in_data.len, buf);

	// for example: '{ "config" : { "locationTimeout":150 } }'

	nrf_cloud_coap_shadow_state_update(buf);

	//err = nrf_cloud_coap_shadow_delta_process(&in_data, &delta_obj);
	//if (err == 1) {
//
	//	if (delta_obj.type == NRF_CLOUD_OBJ_TYPE_JSON) {
	//		json_print_obj("delta_obj", delta_obj.json);
	//	}
	//	/* There is an application specific shadow delta to process */
//
	//	/* --- Process application's delta data here --- */
//
	//	/* To clear the delta, we will just accept the delta by
	//	 * updating the shadow state with the received data.
	//	 *
	//	 * Encode the delta to send to the cloud
	//	 */
	//	err = nrf_cloud_obj_cloud_encode(&delta_obj);
//
	//	/* Free the object */
	//	(void)nrf_cloud_obj_free(&delta_obj);
//
	//	if (!err) {
	//		/* Send the encoded data */
	//		err = nrf_cloud_coap_shadow_state_update(delta_obj.encoded_data.ptr);
	//	} else {
	//		LOG_ERR("Failed to encode cloud data, err: %d", err);
	//		return err;
	//	}
//
	//	if (err) {
	//		LOG_ERR("Failed to send shadow delta update, err: %d", err);
	//	}
//
	//	/* Free the encoded data */
	//	(void)nrf_cloud_obj_cloud_encoded_free(&delta_obj);
//
	//} else if (err < 0) {
	//	LOG_ERR("Failed to process shadow delta, err: %d", err);
	//}

	return err;
}

#define SHADOW_THREAD_DELAY_S 10

int coap_shadow_thread_fn(void)
{
	int err;

	while (1) {
		err = check_shadow();
		if (err == -EAGAIN) {
			k_sleep(K_SECONDS(CONFIG_COAP_SHADOW_CHECK_RATE_SECONDS));
		} else {
			k_sleep(K_SECONDS(SHADOW_THREAD_DELAY_S));
		}
	}
	return 0;
}
```
